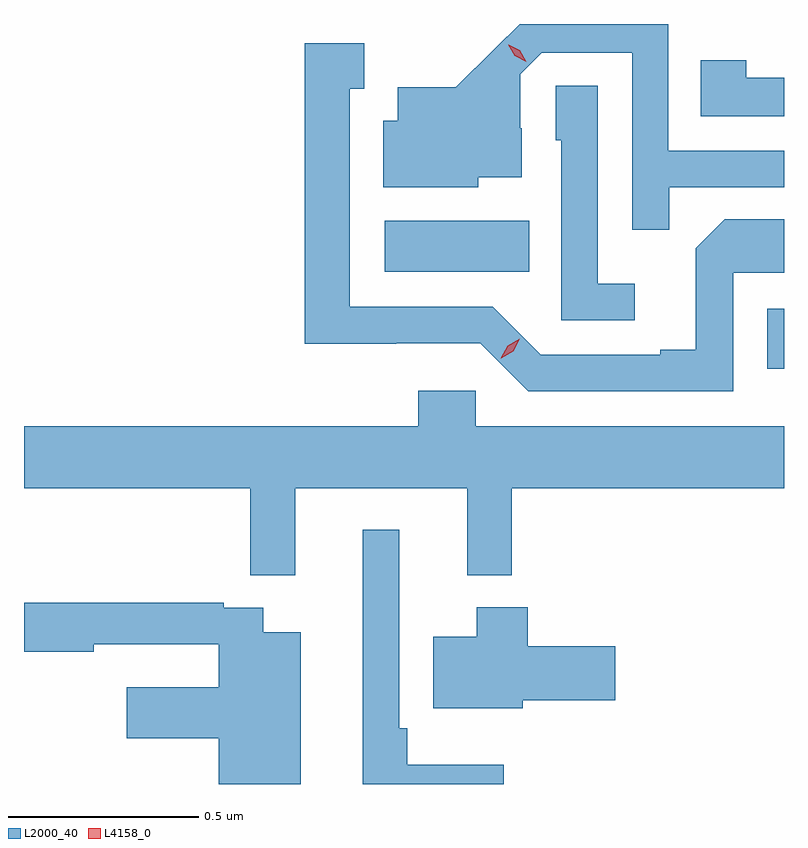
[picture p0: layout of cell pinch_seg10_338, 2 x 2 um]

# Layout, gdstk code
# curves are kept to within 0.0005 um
import gdstk
lib = gdstk.Library(unit=1e-6, precision=1e-09)
def R(c, l, rs):  # rectangles x0, y0, x1, y1
    for r in rs: c.add(gdstk.rectangle(r[:2], r[2:], *l))
def P(c, l, *ps):  # polygons
    for p in ps: c.add(gdstk.Polygon(p, *l))
L2000_40 = (2000, 40)
L4158_0 = (4158, 0)

pinch_seg10_338 = lib.new_cell('pinch_seg10_338')
R(pinch_seg10_338, L2000_40, [(418.991,1280.651,419.035,1280.809), (417.984,1280.906,418.364,1281.04)])
P(pinch_seg10_338, L2000_40, [(418.733,1281.129),(419.035,1281.129),(419.035,1281.225),(418.731,1281.225),(418.731,1281.558),(418.34,1281.558),(418.171,1281.391),(418.019,1281.391),(418.019,1281.304),(417.98,1281.304),(417.98,1281.128),(418.23,1281.128),(418.23,1281.155),(418.345,1281.155),(418.345,1281.284),(418.341,1281.284),(418.341,1281.426),(418.398,1281.483),(418.635,1281.483),(418.635,1281.016),(418.733,1281.016)],
  [(418.902,1280.904),(419.035,1280.904),(419.035,1281.044),(418.879,1281.044),(418.803,1280.968),(418.803,1280.701),(418.709,1280.701),(418.709,1280.688),(418.395,1280.688),(418.269,1280.814),(417.892,1280.814),(417.892,1281.387),(417.931,1281.387),(417.931,1281.508),(417.774,1281.508),(417.774,1280.717),(418.014,1280.717),(418.014,1280.718),(418.236,1280.718),(418.362,1280.592),(418.902,1280.592)],
  [(419.035,1281.416),(418.935,1281.416),(418.935,1281.463),(418.816,1281.463),(418.816,1281.315),(419.035,1281.315)],
  [(418.642,1280.875),(418.545,1280.875),(418.545,1281.395),(418.434,1281.395),(418.434,1281.252),(418.449,1281.252),(418.449,1280.778),(418.642,1280.778)],
  [(417.749,1280.336),(418.202,1280.336),(418.202,1280.108),(418.319,1280.108),(418.319,1280.336),(419.035,1280.336),(419.035,1280.5),(418.224,1280.5),(418.224,1280.593),(418.073,1280.593),(418.073,1280.5),(417.035,1280.5),(417.035,1280.336),(417.631,1280.336),(417.631,1280.107),(417.749,1280.107)],
  [(418.297,1279.609),(418.043,1279.609),(418.043,1279.705),(418.023,1279.705),(418.023,1280.227),(417.926,1280.227),(417.926,1279.558),(418.297,1279.558)],
  [(417.763,1279.957),(417.664,1279.957),(417.664,1280.022),(417.56,1280.022),(417.56,1280.035),(417.035,1280.035),(417.035,1279.906),(417.218,1279.906),(417.218,1279.926),(417.548,1279.926),(417.548,1279.813),(417.306,1279.813),(417.306,1279.679),(417.548,1279.679),(417.548,1279.558),(417.763,1279.558)],
  [(418.348,1279.778),(418.591,1279.778),(418.591,1279.92),(418.361,1279.92),(418.361,1280.023),(418.226,1280.023),(418.226,1279.945),(418.112,1279.945),(418.112,1279.757),(418.348,1279.757)])
P(pinch_seg10_338, L4158_0, [(418.357,1281.459),(418.326,1281.474),(418.309,1281.504),(418.309,1281.504),(418.31,1281.504),(418.34,1281.489),(418.357,1281.459),(418.357,1281.459)],
  [(418.29,1280.678),(418.29,1280.679),(418.308,1280.711),(418.339,1280.73),(418.34,1280.73),(418.34,1280.73),(418.322,1280.697),(418.291,1280.678)])

lib.write_gds('pinch_seg10_338.gds')
